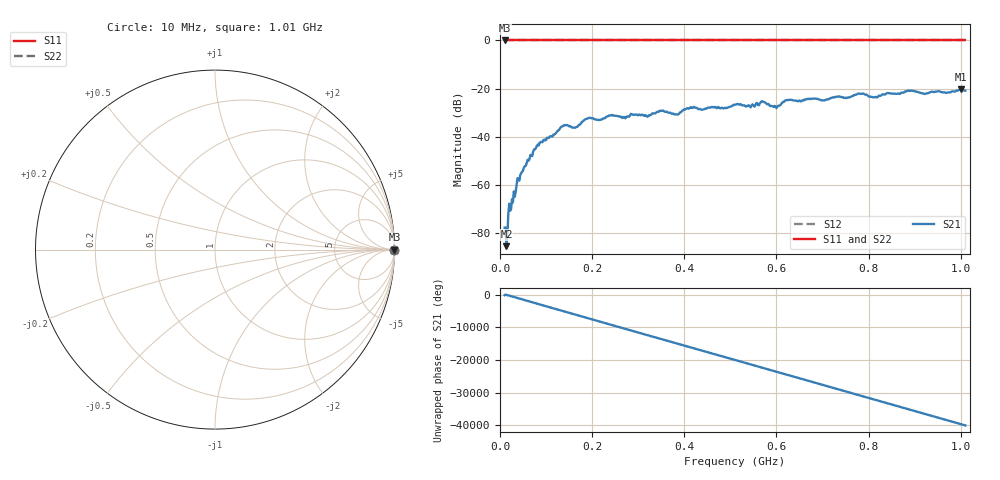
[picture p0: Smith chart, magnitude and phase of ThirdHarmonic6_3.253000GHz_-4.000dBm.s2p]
! 8/17/2025 10:00:58 AM
! C:\ANRITSUVNA\TEMP\TEMP.S2P
! CHANNEL.1
! TR.MEASUREMENT
! RAW.DATA
! RF.CORRECTION.OFF
! AVERAGING.OFF
! IF.BANDWIDTH: 5KHZ
! SWEEPTYPE:  FREQ.SWEEP(Linear)
! Reference Plane Port Info
! PORT:  PORT1  PORT2
! DISTANCE:  0  m  0  m
! TIME:  0  s  0  s
! PHASE.OFFSET:  0  deg.  0  deg.
! LOSS:  0  dB  0  dB
! REF.LOSS:  0  dB  0  dB
! REF.FREQ:  0  Hz  0  Hz
! Power Info
! POWER:  -20  dBm  -20  dBm
! EFF.POWER:  -20  dBm  -20  dBm
! SOURCE.ATTEN:  0  dB  0  dB
! TEST.ATTEN:  0  dB  0  dB
# GHZ S RI R 50.0
! FREQ.GHZ  S11RE  S11IM  S21RE  S21IM  S12RE  S12IM  S22RE  S22IM
!; PortSelection: Port_12
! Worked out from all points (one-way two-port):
!   501 points, 10 MHz to 1.01 GHz, reference 50 ohm
!   highest |S21| = -20.23 dB at 1 GHz (marker M1); lowest = -85.4 dB at 14 MHz (marker M2)
!   lowest |S11| = 0.0 dB at 10 MHz (marker M3)
!   |S11| at or under -10 dB: nowhere
!   |S22| runs from 0.0 to 0.0 dB; largest |S21 - S12| = 1.1
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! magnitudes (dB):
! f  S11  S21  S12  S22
! 10 MHz  0.0  -77.7  0.0  0.0
! 14 MHz  0.0  -85.4  0.0  0.0
! 22 MHz  0.0  -70.7  0.0  0.0
! 40 MHz  0.0  -57.4  0.0  0.0
! 78 MHz  0.0  -44.6  0.0  0.0
! 136 MHz  0.0  -35.6  0.0  0.0
! 164 MHz  0.0  -36.1  0.0  0.0
! 178 MHz  0.0  -33.8  0.0  0.0
! 194 MHz  0.0  -32.1  0.0  0.0
! 322 MHz  0.0  -31.3  0.0  0.0
! 344 MHz  0.0  -29.7  0.0  0.0
! 382 MHz  0.0  -30.6  0.0  0.0
! 418 MHz  0.0  -28.0  0.0  0.0
! 510 MHz  0.0  -26.7  0.0  0.0
! 570 MHz  0.0  -25.3  0.0  0.0
! 598 MHz  0.0  -27.4  0.0  0.0
! 622 MHz  0.0  -24.8  0.0  0.0
! 678 MHz  0.0  -24.1  0.0  0.0
! 814 MHz  0.0  -23.5  0.0  0.0
! 844 MHz  0.0  -21.9  0.0  0.0
! 1 GHz  0.0  -20.2  0.0  0.0
! 1.01 GHz  0.0  -20.8  0.0  0.0
